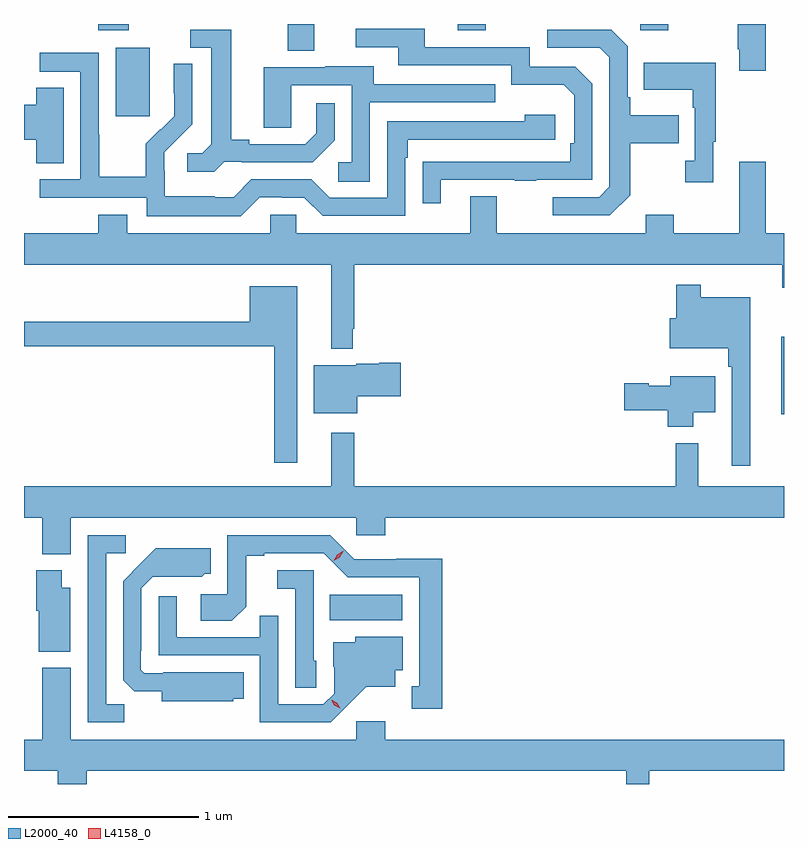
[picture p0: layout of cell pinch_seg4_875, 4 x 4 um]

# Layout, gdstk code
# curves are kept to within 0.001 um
import gdstk
lib = gdstk.Library(unit=1e-6, precision=1e-09)
def R(c, l, rs):  # rectangles x0, y0, x1, y1
    for r in rs: c.add(gdstk.rectangle(r[:2], r[2:], *l))
def P(c, l, *ps):  # polygons
    for p in ps: c.add(gdstk.Polygon(p, *l))
L2000_40 = (2000, 40)
L4158_0 = (4158, 0)

pinch_seg4_875 = lib.new_cell('pinch_seg4_875')
R(pinch_seg4_875, L2000_40, [(767.182,821.588,767.563,821.722), (769.559,822.671,769.573,823.081), (766.055,824.241,766.234,824.602), (766.961,824.584,767.101,824.726), (765.965,824.693,766.125,824.726), (767.855,824.693,768.003,824.726), (768.816,824.693,768.963,824.726)])
P(pinch_seg4_875, L2000_40, [(769.477,824.726),(769.33,824.726),(769.33,824.593),(769.337,824.593),(769.337,824.481),(769.477,824.481)],
  [(767.767,823.905),(768.157,823.905),(768.157,823.9),(768.269,823.9),(768.269,823.905),(768.564,823.905),(768.564,824.412),(768.474,824.502),(768.234,824.502),(768.234,824.604),(767.683,824.604),(767.683,824.7),(767.319,824.7),(767.319,824.604),(767.543,824.604),(767.543,824.508),(768.138,824.508),(768.138,824.405),(768.415,824.405),(768.468,824.352),(768.468,824.098),(768.448,824.098),(768.448,824.001),(767.671,824),(767.671,823.782),(767.767,823.782)],
  [(768.763,823.825),(768.763,824.098),(769.019,824.098),(769.019,824.245),(768.763,824.245),(768.763,824.341),(768.75,824.341),(768.75,824.61),(768.663,824.697),(768.327,824.697),(768.327,824.601),(768.603,824.601),(768.654,824.55),(768.654,823.869),(768.6,823.815),(768.357,823.815),(768.357,823.719),(768.657,823.719)],
  [(766.626,824.001),(766.72,824.001),(766.72,823.998),(767.092,823.998),(767.208,824.114),(767.208,824.308),(767.111,824.308),(767.111,824.151),(767.054,824.094),(766.759,824.094),(766.759,824.117),(766.663,824.117),(766.663,824.697),(766.449,824.697),(766.449,824.601),(766.559,824.601),(766.559,824.093),(766.512,824.046),(766.431,824.046),(766.431,823.949),(766.574,823.949)],
  [(766.815,823.815),(766.931,823.815),(766.931,823.812),(767.049,823.812),(767.145,823.716),(767.58,823.716),(767.58,824.021),(767.593,824.021),(767.593,824.118),(768.37,824.118),(768.37,824.248),(768.209,824.248),(768.209,824.214),(767.484,824.214),(767.484,823.812),(767.181,823.812),(767.085,823.908),(766.77,823.908),(766.677,823.815),(766.577,823.815),(766.577,823.819),(766.314,823.819),(766.314,823.953),(766.312,823.953),(766.312,824.05),(766.458,824.198),(766.458,824.516),(766.362,824.516),(766.362,824.362),(766.364,824.362),(766.364,824.24),(766.293,824.169),(766.29,824.172),(766.213,824.095),(766.213,823.921),(765.969,823.921),(765.969,824.144),(765.966,824.144),(765.966,824.574),(765.657,824.574),(765.657,824.475),(765.87,824.475),(765.87,823.908),(765.657,823.908),(765.657,823.812),(766.218,823.812),(766.218,823.715),(766.715,823.715)],
  [(769.201,824.105),(769.213,824.105),(769.213,824.521),(768.835,824.521),(768.835,824.381),(769.092,824.381),(769.092,824.285),(769.104,824.285),(769.104,824.006),(769.053,824.006),(769.053,823.893),(769.201,823.893)],
  [(767.394,824.313),(768.053,824.313),(768.053,824.409),(767.413,824.409),(767.413,824.503),(767.159,824.503),(767.159,824.499),(766.835,824.499),(766.835,824.179),(766.98,824.179),(766.98,824.403),(767.298,824.403),(767.298,823.998),(767.226,823.998),(767.226,823.897),(767.394,823.897)],
  [(765.781,824.39),(765.638,824.39),(765.638,824.3),(765.573,824.3),(765.573,824.117),(765.638,824.117),(765.638,823.993),(765.781,823.993)],
  [(767.303,823.123),(767.311,823.123),(767.311,823.46),(769.563,823.46),(769.563,823.337),(769.573,823.337),(769.573,823.624),(769.477,823.624),(769.477,824.002),(769.337,824.002),(769.337,823.624),(768.993,823.624),(768.993,823.723),(768.845,823.723),(768.845,823.624),(768.061,823.624),(768.061,823.819),(767.921,823.819),(767.921,823.624),(767.007,823.624),(767.007,823.722),(766.869,823.722),(766.869,823.624),(766.117,823.624),(766.117,823.723),(765.965,823.723),(765.965,823.624),(765.573,823.624),(765.573,823.46),(767.189,823.46),(767.189,823.016),(767.303,823.016)],
  [(769.396,823.288),(769.135,823.288),(769.135,823.354),(769.006,823.354),(769.006,823.177),(768.972,823.177),(768.972,823.019),(769.279,823.019),(769.279,822.923),(769.299,822.923),(769.299,822.402),(769.396,822.402)],
  [(767.011,823.345),(766.76,823.345),(766.76,823.159),(765.573,823.159),(765.573,823.03),(766.89,823.03),(766.89,822.417),(767.011,822.417)],
  [(767.326,822.766),(767.557,822.766),(767.557,822.944),(767.444,822.944),(767.444,822.937),(767.322,822.937),(767.322,822.931),(767.099,822.931),(767.099,822.677),(767.326,822.677)],
  [(769.096,822.683),(769.21,822.683),(769.21,822.871),(768.974,822.871),(768.974,822.823),(768.861,822.823),(768.861,822.836),(768.732,822.836),(768.732,822.694),(768.962,822.694),(768.962,822.605),(769.096,822.605)],
  [(765.82,822.128),(767.322,822.128),(767.322,822.035),(767.474,822.035),(767.474,822.128),(769.573,822.128),(769.573,822.292),(769.121,822.292),(769.121,822.52),(769.003,822.52),(769.003,822.292),(767.311,822.292),(767.311,822.574),(767.189,822.574),(767.189,822.292),(765.573,822.292),(765.573,822.128),(765.668,822.128),(765.668,821.936),(765.82,821.936)],
  [(767.773,821.912),(767.532,821.912),(767.532,821.91),(767.31,821.91),(767.184,822.036),(766.644,822.036),(766.644,821.724),(766.503,821.724),(766.503,821.584),(766.667,821.584),(766.743,821.66),(766.743,821.928),(766.837,821.928),(766.837,821.94),(767.151,821.94),(767.277,821.814),(767.654,821.814),(767.654,821.241),(767.615,821.241),(767.615,821.121),(767.773,821.121)],
  [(766.101,821.147),(766.005,821.147),(766.005,821.94),(766.108,821.94),(766.108,822.036),(765.909,822.036),(765.909,821.052),(766.101,821.052)],
  [(766.674,821.174),(766.73,821.174),(766.73,821.314),(766.306,821.314),(766.306,821.31),(766.206,821.31),(766.188,821.328),(766.188,821.428),(766.191,821.428),(766.191,821.757),(766.251,821.817),(766.508,821.816),(766.524,821.832),(766.555,821.832),(766.555,821.968),(766.267,821.968),(766.095,821.794),(766.095,821.272),(766.154,821.213),(766.298,821.213),(766.298,821.162),(766.674,821.162)],
  [(765.817,821.758),(765.772,821.758),(765.772,821.851),(765.638,821.851),(765.638,821.637),(765.65,821.637),(765.65,821.423),(765.817,821.423)],
  [(767.112,821.376),(767.097,821.376),(767.097,821.85),(766.905,821.85),(766.905,821.753),(767.001,821.753),(767.001,821.233),(767.112,821.233)],
  [(767.272,821.135),(767.375,821.237),(767.527,821.237),(767.527,821.324),(767.566,821.324),(767.566,821.5),(767.316,821.5),(767.316,821.473),(767.201,821.473),(767.201,821.344),(767.205,821.344),(767.205,821.202),(767.148,821.145),(766.911,821.145),(766.911,821.612),(766.813,821.612),(766.813,821.499),(766.377,821.499),(766.377,821.713),(766.281,821.713),(766.281,821.403),(766.815,821.403),(766.815,821.052),(767.188,821.052)],
  [(765.902,820.796),(768.743,820.796),(768.743,820.726),(768.865,820.726),(768.865,820.796),(769.573,820.796),(769.573,820.96),(767.474,820.96),(767.474,821.056),(767.322,821.056),(767.322,820.96),(765.82,820.96),(765.82,821.338),(765.668,821.338),(765.668,820.96),(765.573,820.96),(765.573,820.796),(765.75,820.796),(765.75,820.726),(765.902,820.726)])
P(pinch_seg4_875, L4158_0, [(767.204,821.9),(767.204,821.901),(767.221,821.933),(767.252,821.953),(767.252,821.953),(767.252,821.952),(767.236,821.92),(767.204,821.9)],
  [(767.237,821.125),(767.206,821.14),(767.189,821.169),(767.189,821.169),(767.189,821.169),(767.22,821.154),(767.237,821.125),(767.237,821.125)])

lib.write_gds('pinch_seg4_875.gds')
